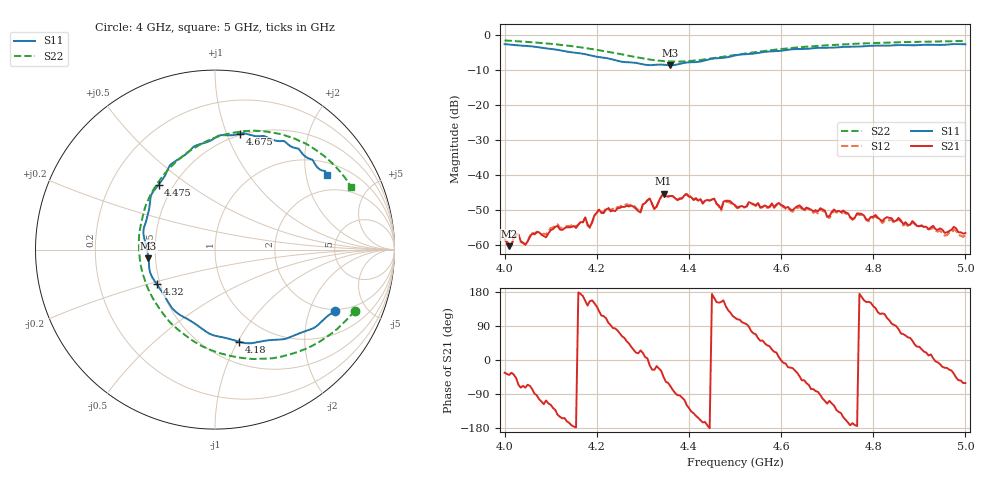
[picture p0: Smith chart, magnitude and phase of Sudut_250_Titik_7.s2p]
# Hz S RI R 50
! CMT, C1220, 16058040, 17.2.0/1
! Date: 15/08/2018 12:04:32
! Data: Format (Calibration Info)
! Freq  S11: Re/Im (F2)  S21: Re/Im (F2)  S12: Re/Im (F2)  S22: Re/Im (F2)
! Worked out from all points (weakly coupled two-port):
!   201 points, 4 GHz to 5 GHz, reference 50 ohm
!   highest |S21| = -45.32 dB at 4.345 GHz (marker M1); lowest = -60.4 dB at 4.01 GHz (marker M2)
!   lowest |S11| = -8.5 dB at 4.36 GHz (marker M3), VSWR 2.20, Z = 22.9 - j2.58 ohm
!   |S11| at or under -10 dB: nowhere
!   |S22| runs from -7.5 to -1.4 dB; largest |S21 - S12| = 0.00023
!   S11 on the Smith chart (normalised r, x): 4 GHz: 1.94, -3.02; 4.18 GHz: 0.71, -1.02; 4.32 GHz: 0.48, -0.22; 4.475 GHz: 0.41, +0.39; 4.675 GHz: 0.49, +1.12; 5 GHz: 1.40, +2.64
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4e9  0.6695 -0.3398  0.00098 -0.00065  0.00106 -0.000661  0.7778 -0.3399
4.01e9  0.6525 -0.3529  0.00074 -0.000609  0.00075 -0.000695  0.7595 -0.3629
4.025e9  0.6207 -0.3758  0.000944 -0.00104  0.000981 -0.00105  0.7302 -0.3943
4.045e9  0.5748 -0.4191  0.000291 -0.000962  0.000318 -0.00096  0.6865 -0.4367
4.06e9  0.5399 -0.4414  0.000328 -0.00142  0.000406 -0.00146  0.6508 -0.4663
4.17e9  0.1693 -0.5209  -0.00207 0.000418  -0.00204 0.000468  0.2805 -0.6073
4.18e9  0.1365 -0.5132  -0.00159 0.00117  -0.00151 0.00114  0.2392 -0.6089
4.205e9  0.0409 -0.4882  -0.00201 0.00249  -0.00216 0.00246  0.1302 -0.6006
4.295e9  -0.2603 -0.2937  0.00263 0.00125  0.00272 0.00115  -0.2471 -0.4088
4.315e9  -0.3104 -0.2129  0.00445 -0.00116  0.00443 -0.00125  -0.309 -0.3298
4.32e9  -0.3236 -0.1933  0.00353 -0.00168  0.00347 -0.0017  -0.3225 -0.309
4.335e9  -0.3552 -0.1427  0.00395 -0.00162  0.00388 -0.00161  -0.3614 -0.2427
4.345e9  -0.3655 -0.1094  0.00383 -0.00384  0.00376 -0.00377  -0.3833 -0.1932
4.36e9  -0.3709 -0.0486  0.00175 -0.00469  0.00179 -0.00469  -0.4062 -0.1203
4.455e9  -0.3532 0.3086  -0.00438 0.00132  -0.00434 0.00151  -0.3493 0.3217
4.47e9  -0.3264 0.3459  -0.00289 0.00146  -0.0027 0.00154  -0.3161 0.376
4.475e9  -0.3146 0.3616  -0.00384 0.0016  -0.00368 0.00174  -0.304 0.3924
4.5e9  -0.2633 0.4447  -0.00138 0.00344  -0.00136 0.00332  -0.24 0.4672
4.67e9  0.1289 0.6437  0.000687 -0.00294  0.00062 -0.00281  0.2366 0.6616
4.675e9  0.1391 0.6466  0.000443 -0.00312  0.000442 -0.00297  0.2491 0.661
4.835e9  0.434 0.5699  -0.00062 0.00236  -0.000587 0.00217  0.5728 0.5475
5e9  0.6231 0.4145  0.000718 -0.00129  0.000702 -0.00119  0.7578 0.3509
